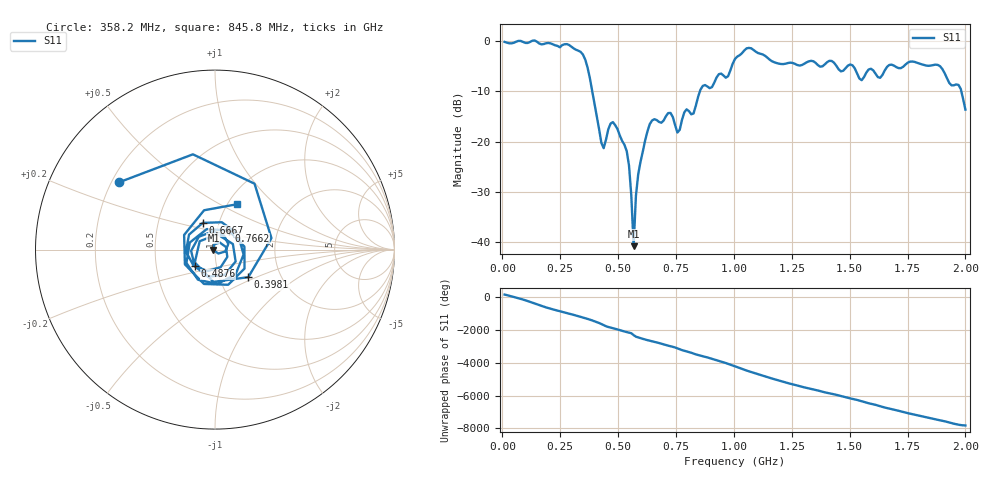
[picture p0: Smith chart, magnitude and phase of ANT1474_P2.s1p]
!Created with skrf (http://scikit-rf.org).
# Hz S RI R 50.0
!freq ReS11 ImS11
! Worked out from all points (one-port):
!   201 points, 10 MHz to 2 GHz, reference 50 ohm
!   lowest |S11| = -40.8 dB at 567.2 MHz (marker M1), VSWR 1.02, Z = 49.1 - j0.244 ohm
!   |S11| at or under -10 dB: 388.6 MHz to 853.5 MHz (464.9 MHz wide, 74.9 % of centre); 1.982 GHz to end of sweep
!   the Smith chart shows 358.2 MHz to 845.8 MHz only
!   S11 on the Smith chart (normalised r, x): 358.2 MHz: 0.23, +0.30; 398.1 MHz: 1.37, -0.45; 487.6 MHz: 0.79, -0.15; 666.7 MHz: 0.84, +0.26; 766.2 MHz: 1.14, +0.25; 845.8 MHz: 1.10, +0.60
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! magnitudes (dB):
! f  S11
! 10 MHz  -0.2
! 258.8 MHz  -0.8
! 358.2 MHz  -3.7
! 398.1 MHz  -12.4
! 437.9 MHz  -21.3
! 467.7 MHz  -16.4
! 487.6 MHz  -16.7
! 507.5 MHz  -18.8
! 547.3 MHz  -24.8
! 567.2 MHz  -40.8
! 577.1 MHz  -30.7
! 587.1 MHz  -26.5
! 636.9 MHz  -16.5
! 666.7 MHz  -15.7
! 726.4 MHz  -14.3
! 756.2 MHz  -18.2
! 766.2 MHz  -17.7
! 845.8 MHz  -11.1
! 975.1 MHz  -7.0
! 1.005 GHz  -3.6
! 1.065 GHz  -1.4
! 1.254 GHz  -4.4
! 1.502 GHz  -4.7
! 1.552 GHz  -7.8
! 1.751 GHz  -4.3
! 1.891 GHz  -5.0
! 1.97 GHz  -8.7
! 2 GHz  -13.6
